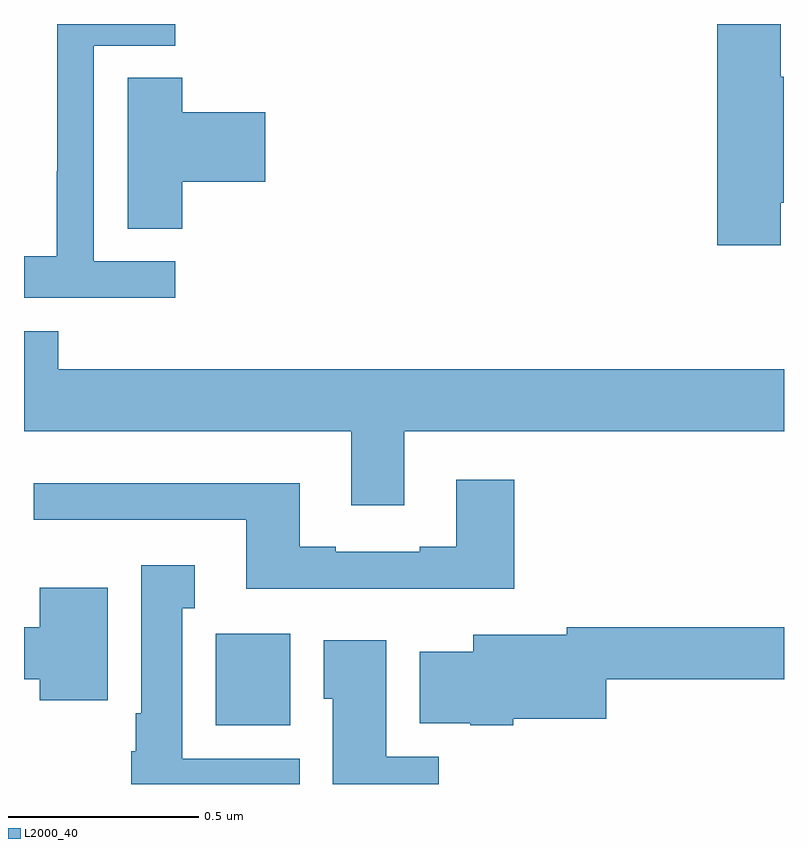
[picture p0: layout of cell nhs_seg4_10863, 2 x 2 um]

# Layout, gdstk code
import gdstk
lib = gdstk.Library(unit=1e-6, precision=1e-09)
def R(c, l, rs):  # rectangles x0, y0, x1, y1
    for r in rs: c.add(gdstk.rectangle(r[:2], r[2:], *l))
def P(c, l, *ps):  # polygons
    for p in ps: c.add(gdstk.Polygon(p, *l))
L2000_40 = (2000, 40)

nhs_seg4_10863 = lib.new_cell('nhs_seg4_10863')
R(nhs_seg4_10863, L2000_40, [(245.504,788.054,245.701,788.296)])
P(nhs_seg4_10863, L2000_40, [(246.991,789.43),(246.999,789.43),(246.999,789.761),(246.991,789.761),(246.991,789.9),(246.824,789.9),(246.824,789.318),(246.991,789.318)],
  [(245.398,789.276),(245.184,789.276),(245.184,789.843),(245.398,789.843),(245.398,789.9),(245.088,789.9),(245.088,789.512),(245.086,789.512),(245.086,789.289),(245,789.289),(245,789.18),(245.398,789.18)],
  [(245.417,789.485),(245.635,789.485),(245.635,789.668),(245.417,789.668),(245.417,789.758),(245.273,789.758),(245.273,789.361),(245.417,789.361)],
  [(246.001,788.828),(247,788.828),(247,788.992),(245.09,788.992),(245.09,789.091),(245,789.091),(245,788.828),(245.861,788.828),(245.861,788.634),(246.001,788.634)],
  [(246.29,788.701),(246.137,788.701),(246.137,788.524),(246.041,788.524),(246.041,788.511),(245.821,788.511),(245.821,788.524),(245.725,788.524),(245.725,788.692),(245.025,788.692),(245.025,788.595),(245.585,788.595),(245.585,788.414),(246.29,788.414)],
  [(245.725,787.966),(245.416,787.966),(245.416,788.363),(245.449,788.363),(245.449,788.476),(245.309,788.476),(245.309,788.086),(245.294,788.086),(245.294,787.986),(245.282,787.986),(245.282,787.9),(245.725,787.9)],
  [(245.221,788.416),(245.042,788.416),(245.042,788.312),(245,788.312),(245,788.176),(245.042,788.176),(245.042,788.12),(245.221,788.12)],
  [(246.288,788.072),(246.532,788.072),(246.532,788.176),(247,788.176),(247,788.312),(246.428,788.312),(246.428,788.293),(246.182,788.293),(246.182,788.248),(246.041,788.248),(246.041,788.06),(246.174,788.06),(246.174,788.054),(246.288,788.054)],
  [(246.092,787.972),(245.953,787.972),(245.953,788.278),(245.789,788.278),(245.789,788.124),(245.813,788.124),(245.813,787.9),(246.092,787.9)])

lib.write_gds('nhs_seg4_10863.gds')
